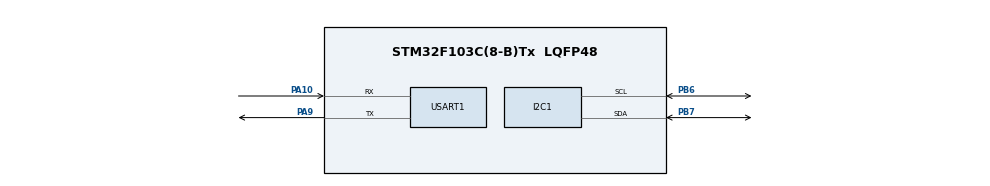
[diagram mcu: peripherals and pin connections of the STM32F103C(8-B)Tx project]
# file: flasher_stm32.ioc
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Mcu.Family=STM32F1
Mcu.Name=STM32F103C(8-B)Tx
Mcu.Package=LQFP48
NVIC.PriorityGroup=NVIC_PRIORITYGROUP_4
PA10.Mode=Asynchronous
PA10.Signal=USART1_RX
PA9.Mode=Asynchronous
PA9.Signal=USART1_TX
PB6.Mode=I2C
PB6.Signal=I2C1_SCL
PB7.Mode=I2C
PB7.Signal=I2C1_SDA
ProjectManager.HeapSize=0x200
ProjectManager.StackSize=0x400
ProjectManager.TargetToolchain=STM32CubeIDE
RCC.APB1Freq_Value=8000000
RCC.APB2Freq_Value=8000000
USART1.VirtualMode=VM_ASYNC
board=custom

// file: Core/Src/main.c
/* USER CODE BEGIN Header */
/**
  ******************************************************************************
  * @file           : main.c
  * @brief          : Main program body
  ******************************************************************************
  * @attention
  *
  * Copyright (c) 2023 STMicroelectronics.
  * All rights reserved.
  *
  * This software is licensed under terms that can be found in the LICENSE file
  * in the root directory of this software component.
  * If no LICENSE file comes with this software, it is provided AS-IS.
  *
  ******************************************************************************
  */
/* USER CODE END Header */
#include "main.h"

/* USER CODE BEGIN Includes */
I2C_HandleTypeDef hi2c1;

UART_HandleTypeDef huart1;

#include <sys/types.h>
#include <sys/stat.h>
#include <stdint.h>
#include <stdio.h>
#include <stdlib.h>
#include <unistd.h>
#include <string.h>
#include <signal.h>
#include <stdarg.h>

#include "utils.h"
#include "stm32.h"
#include "port.h"

/* USER CODE END Includes */

/* USER CODE BEGIN PD */
#define VERSION "0.7"
#define intSize 4
/* USER CODE END PD */

I2C_HandleTypeDef hi2c1;

UART_HandleTypeDef huart1;

/* USER CODE BEGIN PV */
/* device globals */
stm32_t	*stm = NULL;
struct port_interface *port = NULL;

/* settings */
struct port_options port_opts = {
    .device = NULL,
    .serial_mode = "8e1",
    .bus_addr = 0,
    .rx_frame_max = STM32_MAX_RX_FRAME,
    .tx_frame_max = STM32_MAX_TX_FRAME,
};

enum actions {
    ACT_NONE,
    ACT_READ,
    ACT_WRITE,
    ACT_WRITE_UNPROTECT,
    ACT_READ_PROTECT,
    ACT_READ_UNPROTECT,
    ACT_ERASE_ONLY,
    ACT_CRC
};

enum actions action = ACT_NONE;
int npages = 0;
int spage = 0;
int no_erase = 0;
char verify = 0;
int retry = 10;
char exec_flag = 0;
uint32_t execute = 0;
char init_flag = 1;
int use_stdinout = 0;
char force_binary = 0;
FILE *diag;
char reset_flag = 0;
char *filename;
char *gpio_seq = NULL;
uint32_t start_addr = 0;
uint32_t readwrite_len = 0;

/* USER CODE END PV */

void SystemClock_Config(void);
static void MX_GPIO_Init(void);
static void MX_I2C1_Init(void);
static void MX_USART1_UART_Init(void);

/* USER CODE BEGIN 0 */

/* redirect printf to UART */
int _write(int fd, char* ptr, int len) {
    HAL_UART_Transmit(&huart1, (uint8_t *) ptr, len, HAL_MAX_DELAY);
    return len;
}

/* redirect fprintf to UART (for compatibility with stm32flash code) */
int my_fprintf(FILE *stream, const char *format, ...) {
    va_list	listp;
    va_start(listp, format);
    int ret = vprintf(format, listp);
    va_end(listp);
    return ret;
}
#define fprintf my_fprintf

static int is_addr_in_ram(uint32_t addr)
{
    return addr >= stm->dev->ram_start && addr < stm->dev->ram_end;
}

static int is_addr_in_flash(uint32_t addr)
{
    return addr >= stm->dev->fl_start && addr < stm->dev->fl_end;
}

static int is_addr_in_opt_bytes(uint32_t addr)
{
    /* option bytes upper range is inclusive in our device table */
    return addr >= stm->dev->opt_start && addr <= stm->dev->opt_end;
}

static int is_addr_in_sysmem(uint32_t addr)
{
    return addr >= stm->dev->mem_start && addr < stm->dev->mem_end;
}

/* returns the page that contains address "addr" */
static int flash_addr_to_page_floor(uint32_t addr)
{
    int page;
    uint32_t *psize;

    if (!is_addr_in_flash(addr))
        return 0;

    page = 0;
    addr -= stm->dev->fl_start;
    psize = stm->dev->fl_ps;

    while (addr >= psize[0]) {
        addr -= psize[0];
        page++;
        if (psize[1])
            psize++;
    }

    return page;
}

/* returns the first page whose start addr is >= "addr" */
int flash_addr_to_page_ceil(uint32_t addr)
{
    int page;
    uint32_t *psize;

    if (!(addr >= stm->dev->fl_start && addr <= stm->dev->fl_end))
        return 0;

    page = 0;
    addr -= stm->dev->fl_start;
    psize = stm->dev->fl_ps;

    while (addr >= psize[0]) {
        addr -= psize[0];
        page++;
        if (psize[1])
            psize++;
    }

    return addr ? page + 1 : page;
}

/* returns the lower address of flash page "page" */
static uint32_t flash_page_to_addr(int page)
{
    int i;
    uint32_t addr, *psize;

    addr = stm->dev->fl_start;
    psize = stm->dev->fl_ps;

    for (i = 0; i < page; i++) {
        addr += psize[0];
        if (psize[1])
            psize++;
    }

    return addr;
}

/* i2c address scanner, returns single value - first found address*/
uint8_t Buffer[25] = {0};
uint8_t Space[] = " - ";
uint8_t StartMSG[] = "Starting I2C Scanning: \n";
uint8_t EndMSG[] = "Done! \n\n";

unsigned long int scan_i2c_address() {

    uint8_t i=0, ret;

    fprintf(stdout, "%s", StartMSG);

    /* check all possible addresses */
    for(i=1; i<128; i++)
    {
        ret = HAL_I2C_IsDeviceReady(&hi2c1, (uint16_t)(i<<1), 3, 5);
        if (ret != HAL_OK) /* No ACK Received At That Address */
        {
            fprintf(stdout, "%s", Space);
        }
        else if(ret == HAL_OK)
        {
            sprintf(Buffer, "0x%X", i);
            fprintf(stdout, "%s\n", Buffer);
            return i;
        }

        /* format output */
        if (i % 16 == 0) {
            fprintf(stdout, "\n");
        }
    }
    fprintf(stdout, "%s", EndMSG);
    return 0;
}

/* buffer to receive commands and file size via UART */
uint8_t Rx_data[intSize+2];

/* reconstruct received bytes to uint32_t */
uint32_t convertToInt(uint8_t bytesBuf[intSize+2]) {
	uint32_t retValue = (uint32_t)bytesBuf[0]
						+ (uint32_t)(bytesBuf[1] << 8)
						+ (uint32_t)(bytesBuf[2] << 16)
						+ (uint32_t)(bytesBuf[3] << 24);

	return retValue;
}

/* USER CODE END 0 */

int main(void)
{

  /* MCU Configuration--------------------------------------------------------*/

  /* Reset of all peripherals, Initializes the Flash interface and the Systick. */
  HAL_Init();

  /* Configure the system clock */
  SystemClock_Config();

  /* Initialize all configured peripherals */
  MX_GPIO_Init();
  MX_I2C1_Init();
  MX_USART1_UART_Init();
  /* USER CODE BEGIN 2 */

    while (1) {
        HAL_Delay(1000);

        int ret = 1;
        stm32_err_t s_err;
        diag = stdout;

        /* wait for command to be sent */
        printf("waiting for command\n");
        while(HAL_UART_Receive(&huart1, Rx_data, 1, 100) == HAL_TIMEOUT);

        /*  TODO: For now program won't start on its own - you should send 1 to uart
            TODO: to start scan address then stm32f401 will exit bootloader and it should be reentered
            TODO: to continue you can enter 2 */
        if (Rx_data[0] == '1') {
            port_opts.bus_addr = scan_i2c_address(); /* address of i2c slave */

            /* if address is 0 means no address was found */
            if (port_opts.bus_addr==0) {
                printf("Wrong address!\n");
                continue;
            }
        }

        if (Rx_data[0] == '2') {
            action =  ACT_WRITE;

            /* execute program after flashing - can be changed */
            exec_flag = 1;
            execute = 0x0; /* 0 means flash start */
            if (execute % 4 != 0) {
                fprintf(stderr, "ERROR: Execution address must be word-aligned\n");
                return 1;
            }

            port_opts.device = "/dev/i2c-8"; /* dummy else it can break */

            /* TODO: Rx Tx max length (used in i2c as read/write length respectively)
               TODO: this is working for stm32f401 and stm32f746 but can be different for other boards */
            port_opts.rx_frame_max = 255; /* not default 256 */
            port_opts.tx_frame_max = 128; /* not default 256 */

            /* not really needed but leaving just in case */
            if (port_opts.rx_frame_max < 0
                || port_opts.tx_frame_max < 0) {
                fprintf(stderr, "ERROR: Invalid negative value for option -F\n");
                return 1;
            }
            if (port_opts.rx_frame_max == 0)
                port_opts.rx_frame_max = STM32_MAX_RX_FRAME;
            if (port_opts.tx_frame_max == 0)
                port_opts.tx_frame_max = STM32_MAX_TX_FRAME;
            if (port_opts.rx_frame_max < 20
                || port_opts.tx_frame_max < 6) {
                fprintf(stderr, "ERROR: current code cannot work with small frames.\n");
                fprintf(stderr, "min(RX) = 20, min(TX) = 6\n");
                return 1;
            }
            if (port_opts.rx_frame_max > STM32_MAX_RX_FRAME) {
                fprintf(stderr, "WARNING: Ignore RX length in option -F\n");
                port_opts.rx_frame_max = STM32_MAX_RX_FRAME;
            }
            if (port_opts.tx_frame_max > STM32_MAX_TX_FRAME) {
                fprintf(stderr, "WARNING: Ignore TX length in option -F\n");
                port_opts.tx_frame_max = STM32_MAX_TX_FRAME;
            }

            if (action == ACT_READ && use_stdinout) {
                diag = stderr;
            }

            /* output info about board to be flashed */

            fprintf(diag, "stm32flash " VERSION "\n\n");
            fprintf(diag, "http://stm32flash.sourceforge.net/\n\n");

            if (port_open(&port_opts, &port) != PORT_ERR_OK) {
                fprintf(stderr, "Failed to open port: %s\n", port_opts.device);
                goto close;
            }

            fprintf(diag, "Interface %s: %s\n", port->name, port->get_cfg_str(port));

            port->flush(port);

            stm = stm32_init(port, init_flag);
            if (!stm)
                goto close;

            fprintf(diag, "Version      : 0x%02x\n", stm->bl_version);
            if (port->flags & PORT_GVR_ETX) {
                fprintf(diag, "Option 1     : 0x%02x\n", stm->option1);
                fprintf(diag, "Option 2     : 0x%02x\n", stm->option2);
            }
            fprintf(diag, "Device ID    : 0x%04x (%s)\n", stm->pid, stm->dev->name);
            fprintf(diag, "- RAM        : Up to %dKiB  (%db reserved by bootloader)\n", (stm->dev->ram_end - 0x20000000) / 1024, stm->dev->ram_start - 0x20000000);
            fprintf(diag, "- Flash      : Up to %dKiB (size first sector: %dx%d)\n", (stm->dev->fl_end - stm->dev->fl_start ) / 1024, stm->dev->fl_pps, stm->dev->fl_ps[0]);
            fprintf(diag, "- Option RAM : %db\n", stm->dev->opt_end - stm->dev->opt_start + 1);
            fprintf(diag, "- System RAM : %dKiB\n", (stm->dev->mem_end - stm->dev->mem_start) / 1024);

            uint8_t	buffer[256];  /* max possible chunk to flash */
            uint32_t addr, start, end;
            unsigned int len;
            int	failed = 0;
            int	first_page, num_pages;

            /*
            * Cleanup addresses:
            *
            * Starting from options
            *	start_addr, readwrite_len, spage, npages
            * and using device memory size, compute
            *	start, end, first_page, num_pages
            */

            if (start_addr || readwrite_len) {
                if (start_addr == 0)
                    /* default */
                    start = stm->dev->fl_start;
                else if (start_addr == 1)
                    /* if specified to be 0 by user */
                    start = 0;
                else
                    start = start_addr;

                if (is_addr_in_flash(start))
                    end = stm->dev->fl_end;
                else {
                    no_erase = 1;
                    if (is_addr_in_ram(start))
                        end = stm->dev->ram_end;
                    else if (is_addr_in_opt_bytes(start))
                        end = stm->dev->opt_end + 1;
                    else if (is_addr_in_sysmem(start))
                        end = stm->dev->mem_end;
                    else {
                        /* Unknown territory */
                        if (readwrite_len)
                            end = start + readwrite_len;
                        else
                            end = start + sizeof(uint32_t);
                    }
                }

                if (readwrite_len && (end > start + readwrite_len))
                    end = start + readwrite_len;

                first_page = flash_addr_to_page_floor(start);
                if (!first_page && end == stm->dev->fl_end)
                    num_pages = STM32_MASS_ERASE;
                else
                    num_pages = flash_addr_to_page_ceil(end) - first_page;
            } else if (!spage && !npages) {
                start = stm->dev->fl_start;
                end = stm->dev->fl_end;
                first_page = 0;
                num_pages = STM32_MASS_ERASE;
            } else {
                first_page = spage;
                start = flash_page_to_addr(first_page);
                if (start > stm->dev->fl_end) {
                    fprintf(stderr, "Address range exceeds flash size.\n");
                    goto close;
                }

                if (npages) {
                    num_pages = npages;
                    end = flash_page_to_addr(first_page + num_pages);
                    if (end > stm->dev->fl_end)
                        end = stm->dev->fl_end;
                } else {
                    end = stm->dev->fl_end;
                    num_pages = flash_addr_to_page_ceil(end) - first_page;
                }

                if (!first_page && end == stm->dev->fl_end)
                    num_pages = STM32_MASS_ERASE;
            }

                /* start writing to memory */

                fprintf(diag, "Write to memory\n");

                unsigned int offset = 0;
                unsigned int r;
                unsigned int size;
                unsigned int max_wlen, max_rlen;

                max_wlen = port_opts.tx_frame_max - 2;	/* skip len and crc */
                max_wlen &= ~3;	/* 32 bit aligned */

                max_rlen = port_opts.rx_frame_max;
                max_rlen = max_rlen < max_wlen ? max_rlen : max_wlen;

                /* Assume data from stdin is whole device */
                if (use_stdinout)
                    size = end - start;
                else {
                    printf("Receive size:\n");
                    while(HAL_UART_Receive(&huart1, Rx_data, intSize, 1000) == HAL_TIMEOUT);

                    size = convertToInt(Rx_data);
                    printf("Size received: %d\n", size);

                }

                /* TODO: It is possible to write to non-page boundaries, by reading out flash
                        from partial pages and combining with the input data
                if ((start % stm->dev->fl_ps[i]) != 0 || (end % stm->dev->fl_ps[i]) != 0) {
                    fprintf(stderr, "Specified start & length are invalid (must be page aligned)\n");
                    goto close;
                }

                TODO: If writes are not page aligned, we should probably read out existing flash
                        contents first, so it can be preserved and combined with new data */

                /* erase memory before flushing */
                if (!no_erase && num_pages) {
                    fprintf(diag, "Erasing memory\n");
                    s_err = stm32_erase_memory(stm, first_page, num_pages);
                    if (s_err != STM32_ERR_OK) {
                        fprintf(stderr, "Failed to erase memory\n");
                        goto close;
                    }
                }

                fflush(diag);

                addr = start;
                while(addr < end && offset < size) {
                    uint32_t left	= end - addr;
                    len		= max_wlen > left ? left : max_wlen;
                    len		= len > size - offset ? size - offset : len;
                    unsigned int reqlen = len ;

                    /* receive len number of bytes from binary file */
                    printf("Ready to receive portion of data\n");
                    while(HAL_UART_Receive(&huart1, buffer, len, HAL_MAX_DELAY) == HAL_TIMEOUT);
                    printf("Received portion of data\n");

                    if (len == 0) {
                        if (use_stdinout) {
                            break;
                        } else {
                            fprintf(stderr, "Failed to read input file\n");
                            goto close;
                        }
                    }

                    again:
                    s_err = stm32_write_memory(stm, addr, buffer, len);
                    if (s_err != STM32_ERR_OK) {
                        fprintf(stderr, "Failed to write memory at address 0x%08x\n", addr);
                        goto close;
                    }

                    if (verify) {
                        uint8_t compare[len];
                        unsigned int offset, rlen;

                        offset = 0;
                        while (offset < len) {
                            rlen = len - offset;
                            rlen = rlen < max_rlen ? rlen : max_rlen;
                            s_err = stm32_read_memory(stm, addr + offset, compare + offset, rlen);
                            if (s_err != STM32_ERR_OK) {
                                fprintf(stderr, "Failed to read memory at address 0x%08x\n", addr + offset);
                                goto close;
                            }
                            offset += rlen;
                        }

                        for(r = 0; r < len; ++r)
                            if (buffer[r] != compare[r]) {
                                if (failed == retry) {
                                    fprintf(stderr, "Failed to verify at address 0x%08x, expected 0x%02x and found 0x%02x\n",
                                        (uint32_t)(addr + r),
                                        buffer [r],
                                        compare[r]
                                    );
                                    goto close;
                                }
                                ++failed;
                                goto again;
                            }

                        failed = 0;
                    }

                    addr	+= len;
                    offset	+= len;

                    fprintf(diag,
                        "\rWrote %saddress 0x%08x\n",
                        verify ? "and verified " : "",
                        addr
                    );
                    fflush(diag);

                    if( len < reqlen)	/* Last read already reached EOF */
                        break ;
                }

                fprintf(diag, "Done.\n");
                ret = 0;
                goto close;

        close:
            /* start execution of flashed code */
            if (stm && exec_flag && ret == 0) {
                if (execute == 0)
                    execute = stm->dev->fl_start;

                fprintf(diag, "\nStarting execution at address 0x%08x... ", execute);
                fflush(diag);
                if (stm32_go(stm, execute) == STM32_ERR_OK) {
                    reset_flag = 0;
                    fprintf(diag, "done.\n");
                } else
                    fprintf(diag, "failed.\n");
            }

            if (stm)
                stm32_close(stm);

            if (port)
                port->close(port);

            fprintf(diag, "\n");

  /* USER CODE END 2 */

  /* Infinite loop */

    /* USER CODE BEGIN 3 */
        }

    }

    return 0;

  /* USER CODE END 3 */
}

void SystemClock_Config(void)
{
  RCC_OscInitTypeDef RCC_OscInitStruct = {0};
  RCC_ClkInitTypeDef RCC_ClkInitStruct = {0};

  /** Initializes the RCC Oscillators according to the specified parameters
  * in the RCC_OscInitTypeDef structure.
  */
  RCC_OscInitStruct.OscillatorType = RCC_OSCILLATORTYPE_HSI;
  RCC_OscInitStruct.HSIState = RCC_HSI_ON;
  RCC_OscInitStruct.HSICalibrationValue = RCC_HSICALIBRATION_DEFAULT;
  RCC_OscInitStruct.PLL.PLLState = RCC_PLL_NONE;
  if (HAL_RCC_OscConfig(&RCC_OscInitStruct) != HAL_OK)
  {
    Error_Handler();
  }

  /** Initializes the CPU, AHB and APB buses clocks
  */
  RCC_ClkInitStruct.ClockType = RCC_CLOCKTYPE_HCLK|RCC_CLOCKTYPE_SYSCLK
                              |RCC_CLOCKTYPE_PCLK1|RCC_CLOCKTYPE_PCLK2;
  RCC_ClkInitStruct.SYSCLKSource = RCC_SYSCLKSOURCE_HSI;
  RCC_ClkInitStruct.AHBCLKDivider = RCC_SYSCLK_DIV1;
  RCC_ClkInitStruct.APB1CLKDivider = RCC_HCLK_DIV1;
  RCC_ClkInitStruct.APB2CLKDivider = RCC_HCLK_DIV1;

  if (HAL_RCC_ClockConfig(&RCC_ClkInitStruct, FLASH_LATENCY_0) != HAL_OK)
  {
    Error_Handler();
  }
}

static void MX_I2C1_Init(void)
{

  hi2c1.Instance = I2C1;
  hi2c1.Init.ClockSpeed = 100000;
  hi2c1.Init.DutyCycle = I2C_DUTYCYCLE_2;
  hi2c1.Init.OwnAddress1 = 0;
  hi2c1.Init.AddressingMode = I2C_ADDRESSINGMODE_7BIT;
  hi2c1.Init.DualAddressMode = I2C_DUALADDRESS_DISABLE;
  hi2c1.Init.OwnAddress2 = 0;
  hi2c1.Init.GeneralCallMode = I2C_GENERALCALL_DISABLE;
  hi2c1.Init.NoStretchMode = I2C_NOSTRETCH_DISABLE;
  if (HAL_I2C_Init(&hi2c1) != HAL_OK)
  {
    Error_Handler();
  }

}

static void MX_USART1_UART_Init(void)
{

  huart1.Instance = USART1;
  huart1.Init.BaudRate = 115200;
  huart1.Init.WordLength = UART_WORDLENGTH_8B;
  huart1.Init.StopBits = UART_STOPBITS_1;
  huart1.Init.Parity = UART_PARITY_NONE;
  huart1.Init.Mode = UART_MODE_TX_RX;
  huart1.Init.HwFlowCtl = UART_HWCONTROL_NONE;
  huart1.Init.OverSampling = UART_OVERSAMPLING_16;
  if (HAL_UART_Init(&huart1) != HAL_OK)
  {
    Error_Handler();
  }

}

static void MX_GPIO_Init(void)
{

  /* GPIO Ports Clock Enable */
  __HAL_RCC_GPIOA_CLK_ENABLE();
  __HAL_RCC_GPIOB_CLK_ENABLE();

}

void Error_Handler(void)
{
  __disable_irq();
  while (1)
  {
  }
}
